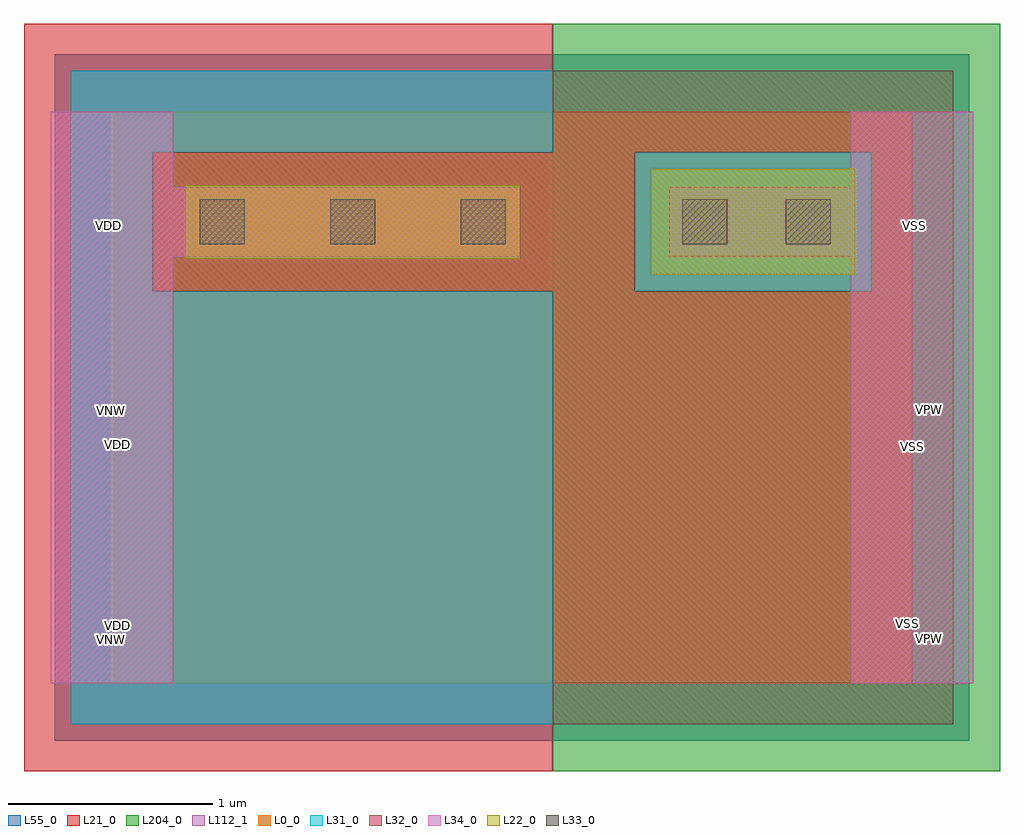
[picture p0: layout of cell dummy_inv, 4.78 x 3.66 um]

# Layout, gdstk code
import gdstk
lib = gdstk.Library(unit=1e-6, precision=1e-09)
def R(c, l, rs):  # rectangles x0, y0, x1, y1
    for r in rs: c.add(gdstk.rectangle(r[:2], r[2:], *l))
def A(c, l, x, y, w, h, nx, ny, dx, dy):  # array of equal rectangles
    R(c, l, [(x+i*dx, y+j*dy, x+i*dx+w, y+j*dy+h) for i in range(nx) for j in range(ny)])
def P(c, l, *ps):  # polygons
    for p in ps: c.add(gdstk.Polygon(p, *l))
L0_0 = (0, 0)
L21_0 = (21, 0)
L22_0 = (22, 0)
L31_0 = (31, 0)
L32_0 = (32, 0)
L33_0 = (33, 0)
L34_0 = (34, 0)
L55_0 = (55, 0)
L112_1 = (112, 1)
L204_0 = (204, 0)

dummy_inv = lib.new_cell('dummy_inv')
R(dummy_inv, L0_0, [(-1.96,-1.4,1.96,-0.84), (-1.96,-0.84,1.96,0.28), (-1.96,0.28,1.96,1.4)])
R(dummy_inv, L21_0, [(-2.39,-1.83,0.2,-0.41), (-2.39,-1.27,0.2,0.71), (-2.39,-0.15,0.2,1.83)])
R(dummy_inv, L22_0, [(0.68,0.6,1.68,1.12), (-1.6,0.68,0.04,1.04)])
R(dummy_inv, L31_0, [(-2.16,-1.6,0.2,-0.64), (-2.16,-1.04,0.2,0.48), (0.6,0.52,1.76,1.2)])
P(dummy_inv, L31_0, [(-2.16,0.08),(-2.16,1.6),(0.2,1.6),(0.2,1.2),(-1.76,1.2),(-1.76,0.52),(0.2,0.52),(0.2,0.08)])
R(dummy_inv, L32_0, [(0.2,-1.6,2.16,-0.64), (0.2,-1.04,2.16,0.48)])
P(dummy_inv, L32_0, [(0.2,0.08),(0.2,0.52),(-1.76,0.52),(1.76,0.52),(1.76,1.2),(0.6,1.2),(0.6,0.52),(-1.76,0.52),(-1.76,1.2),(0.2,1.2),(0.2,1.6),(2.16,1.6),(2.16,0.08)])
A(dummy_inv, L33_0, -1.53, 0.75, 0.22, 0.22, 3, 1, 0.64, 0)
R(dummy_inv, L33_0, [(0.835,0.75,1.055,0.97), (1.34,0.75,1.56,0.97)])
R(dummy_inv, L34_0, [(-2.26,-1.4,-1.66,-0.84), (1.66,-1.4,2.26,-0.84), (-2.26,-0.84,-1.66,0.28), (1.66,-0.84,2.26,0.28)])
P(dummy_inv, L34_0, [(-2.26,0.28),(-2.26,1.4),(-1.66,1.4),(-1.66,1.03),(0.04,1.03),(0.04,0.69),(-1.66,0.69),(-1.66,0.28)],
  [(1.66,0.28),(1.66,0.69),(0.77,0.69),(0.77,1.03),(1.66,1.03),(1.66,1.4),(2.26,1.4),(2.26,0.28)])
R(dummy_inv, L55_0, [(-2.24,-1.68,2.24,-0.56), (-2.24,-1.12,2.24,0.56), (-2.24,0,2.24,1.68)])
R(dummy_inv, L112_1, [(-1.96,-1.4,1.96,-0.84), (-1.96,-0.84,1.96,0.28), (-1.96,0.28,1.96,1.4)])
R(dummy_inv, L204_0, [(0.2,-1.83,2.39,-0.41), (0.2,-1.27,2.39,0.71), (0.2,-0.15,2.39,1.83)])
dummy_inv.add(gdstk.Label('VDD', (-1.975,0.84), layer=34, texttype=10))
dummy_inv.add(gdstk.Label('VSS', (1.97,0.84), layer=34, texttype=10))
dummy_inv.add(gdstk.Label('VSS', (1.95,0.84), layer=34, texttype=10))
dummy_inv.add(gdstk.Label('VSS', (1.935,-1.105), layer=34, texttype=10))
dummy_inv.add(gdstk.Label('VDD', (-1.93,-1.115), layer=34, texttype=10))
dummy_inv.add(gdstk.Label('VSS', (1.96,-0.24), layer=34, texttype=10))
dummy_inv.add(gdstk.Label('VDD', (-1.93,-0.23), layer=34, texttype=10))
dummy_inv.add(gdstk.Label('VNW', (-1.96,-1.185), layer=21, texttype=10))
dummy_inv.add(gdstk.Label('VNW', (-1.96,-0.065), layer=21, texttype=10))
dummy_inv.add(gdstk.Label('VPW', (2.045,-0.06), layer=204, texttype=10))
dummy_inv.add(gdstk.Label('VPW', (2.045,-1.18), layer=204, texttype=10))

lib.write_gds('dummy_inv.gds')
